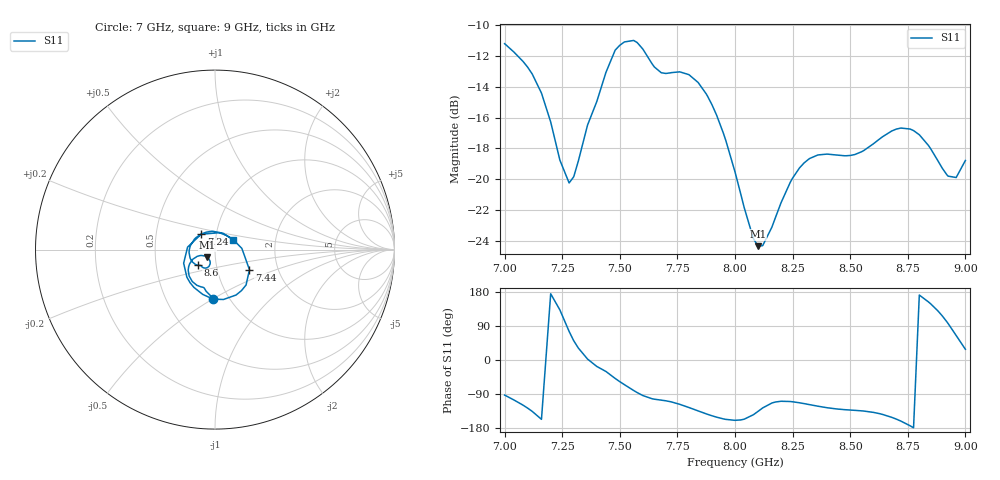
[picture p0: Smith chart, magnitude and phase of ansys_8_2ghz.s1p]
! Touchstone file exported from HFSS 2024.1.0
!  File:  /home/ubuntu/Ansoft/repo/array_8_2GHz/a14.aedt
!  Generated:  06:33:14 AM Apr 30, 2025
!  Design:  HFSSDesign1
!  Project:  a14
!  Setup:  setup
!  Solution:  sweep
# GHz S MA R 50.000000
! Terminal data exported
! Port[1] = t1
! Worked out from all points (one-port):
!   76 points, 7 GHz to 9 GHz, reference 50 ohm
!   lowest |S11| = -24.4 dB at 8.1 GHz (marker M1), VSWR 1.13, Z = 45.7 - j3.89 ohm
!   |S11| at or under -10 dB: start of sweep to end of sweep
!   S11 on the Smith chart (normalised r, x): 7 GHz: 0.84, -0.50; 7.24 GHz: 0.85, +0.15; 7.44 GHz: 1.43, -0.34; 8.6 GHz: 0.81, -0.14; 9 GHz: 1.22, +0.13
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7  0.2753 -92.6
! Gamma 0.103805766213099 212.469347888141
! Port Impedance 50 0
7.08  0.2411 -119.2
7.16  0.1903 -156.6
7.2  0.1534 174.8
7.24  0.1152 132.0
7.28  0.0972 75.4
7.3  0.1018 50.8
7.36  0.1499 2.5
7.44  0.2223 -30.3
7.5  0.272 -57.2
7.56  0.282 -80.4
7.6  0.2645 -93.8
7.68  0.2215 -105.9
7.76  0.223 -116.9
7.88  0.1864 -143.1
8  0.1056 -159.2
8.08  0.06407 -144.4
8.1  0.06059 -135.6
8.12  0.06081 -126.5
8.25  0.1008 -110.2
8.36  0.1198 -121.9
8.5  0.1194 -132.1
8.6  0.1301 -138.2
8.76  0.1455 -173.6
8.84  0.1286 153.1
8.925  0.1023 96.3
8.96  0.1012 64.6
9  0.115 28.2
